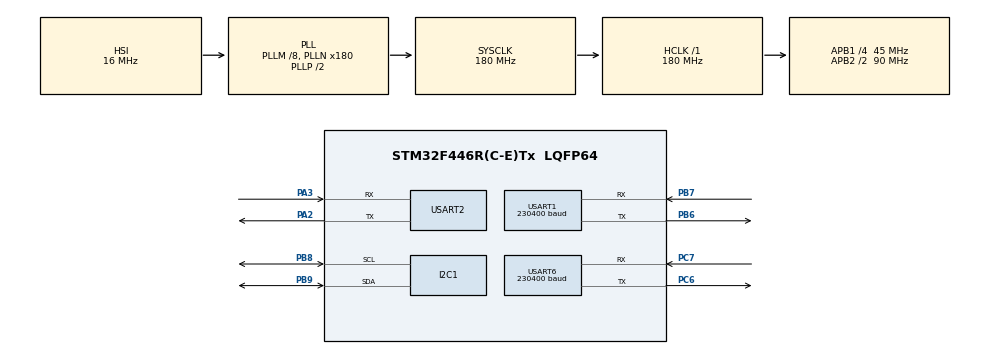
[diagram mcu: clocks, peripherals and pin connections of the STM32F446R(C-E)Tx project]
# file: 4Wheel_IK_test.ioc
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I2C1.I2C_Mode=I2C_Fast
Mcu.Family=STM32F4
Mcu.Name=STM32F446R(C-E)Tx
Mcu.Package=LQFP64
NVIC.PriorityGroup=NVIC_PRIORITYGROUP_4
PA2.Mode=Asynchronous
PA2.Signal=USART2_TX
PA3.Mode=Asynchronous
PA3.Signal=USART2_RX
PB6.Mode=Asynchronous
PB6.Signal=USART1_TX
PB7.Mode=Asynchronous
PB7.Signal=USART1_RX
PB8.Mode=I2C
PB8.Signal=I2C1_SCL
PB9.Mode=I2C
PB9.Signal=I2C1_SDA
PC6.Mode=Asynchronous
PC6.Signal=USART6_TX
PC7.Mode=Asynchronous
PC7.Signal=USART6_RX
ProjectManager.HeapSize=0x200
ProjectManager.StackSize=0x400
ProjectManager.TargetToolchain=STM32CubeIDE
RCC.AHBFreq_Value=180000000
RCC.APB1CLKDivider=RCC_HCLK_DIV4
RCC.APB1Freq_Value=45000000
RCC.APB1TimFreq_Value=90000000
RCC.APB2CLKDivider=RCC_HCLK_DIV2
RCC.APB2Freq_Value=90000000
RCC.APB2TimFreq_Value=180000000
RCC.CortexFreq_Value=180000000
RCC.HCLKFreq_Value=180000000
RCC.PLLM=8
RCC.PLLN=180
RCC.SYSCLKFreq_VALUE=180000000
RCC.SYSCLKSource=RCC_SYSCLKSOURCE_PLLCLK
RCC.USBFreq_Value=180000000
RCC.VCOOutputFreq_Value=360000000
USART1.BaudRate=230400
USART1.VirtualMode=VM_ASYNC
USART2.VirtualMode=VM_ASYNC
USART6.BaudRate=230400
USART6.VirtualMode=VM_ASYNC
board=custom

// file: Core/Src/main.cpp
/* USER CODE BEGIN Header */
/**
 ******************************************************************************
 * @file           : main.c
 * @brief          : Main program body
 ******************************************************************************
 * @attention
 *
 * Copyright (c) 2026 STMicroelectronics.
 * All rights reserved.
 *
 * This software is licensed under terms that can be found in the LICENSE file
 * in the root directory of this software component.
 * If no LICENSE file comes with this software, it is provided AS-IS.
 *
 ******************************************************************************
 */
/* USER CODE END Header */
#include "main.h"

/* USER CODE BEGIN Includes */
#include "stm32roboclaw.h"
#include "bno055_stm32.h"
#include<stdio.h>
/* USER CODE END Includes */

I2C_HandleTypeDef hi2c1;

UART_HandleTypeDef huart1;
UART_HandleTypeDef huart2;
UART_HandleTypeDef huart6;

void SystemClock_Config(void);
static void MX_GPIO_Init(void);
static void MX_I2C1_Init(void);
static void MX_USART1_UART_Init(void);
static void MX_USART2_UART_Init(void);
static void MX_USART6_UART_Init(void);

/* USER CODE BEGIN 0 */

stm32RoboClaw motor(&huart1,100);
stm32RoboClaw motor2(&huart6,100);

// Send printf to uart1
extern "C" int _write(int fd, char* ptr, int len) {
	HAL_StatusTypeDef hstatus;

	if (fd == 1 || fd == 2) {
		hstatus = HAL_UART_Transmit(&huart2, (uint8_t *) ptr, len, HAL_MAX_DELAY);
		if (hstatus == HAL_OK)
			return len;
		else
			return -1;
	}
	return -1;
}

/* USER CODE END 0 */

int main(void)
{

	/* MCU Configuration--------------------------------------------------------*/

	/* Reset of all peripherals, Initializes the Flash interface and the Systick. */
	HAL_Init();

	/* Configure the system clock */
	SystemClock_Config();

	/* Initialize all configured peripherals */
	MX_GPIO_Init();
	MX_I2C1_Init();
	MX_USART1_UART_Init();
	MX_USART2_UART_Init();
	MX_USART6_UART_Init();
	/* USER CODE BEGIN 2 */
	bno055_assignI2C(&hi2c1);
	bno055_setup();
	bno055_setOperationModeNDOF();

	printf("Stm32 ready\r\n");

	/* USER CODE END 2 */

	/* Infinite loop */
	/* USER CODE BEGIN WHILE */
	while (1)
	{
		//	  float v = bno055_getHeadingContinuous();
		//	  		printf("Heading: %.2f\r\n", v);

		motor.DutyM1(130, 6000); //vBR
		motor.DutyM2(130, 6000); //vFR
		motor2.DutyM1(129, 2000); //vFL
		motor2.DutyM2(129, -2000); //vBL
		/* USER CODE END WHILE */

	}
}

void SystemClock_Config(void)
{
	RCC_OscInitTypeDef RCC_OscInitStruct = {0};
	RCC_ClkInitTypeDef RCC_ClkInitStruct = {0};

	/** Configure the main internal regulator output voltage
	 */
	__HAL_RCC_PWR_CLK_ENABLE();
	__HAL_PWR_VOLTAGESCALING_CONFIG(PWR_REGULATOR_VOLTAGE_SCALE1);

	/** Initializes the RCC Oscillators according to the specified parameters
	 * in the RCC_OscInitTypeDef structure.
	 */
	RCC_OscInitStruct.OscillatorType = RCC_OSCILLATORTYPE_HSI;
	RCC_OscInitStruct.HSIState = RCC_HSI_ON;
	RCC_OscInitStruct.HSICalibrationValue = RCC_HSICALIBRATION_DEFAULT;
	RCC_OscInitStruct.PLL.PLLState = RCC_PLL_ON;
	RCC_OscInitStruct.PLL.PLLSource = RCC_PLLSOURCE_HSI;
	RCC_OscInitStruct.PLL.PLLM = 8;
	RCC_OscInitStruct.PLL.PLLN = 180;
	RCC_OscInitStruct.PLL.PLLP = RCC_PLLP_DIV2;
	RCC_OscInitStruct.PLL.PLLQ = 2;
	RCC_OscInitStruct.PLL.PLLR = 2;
	if (HAL_RCC_OscConfig(&RCC_OscInitStruct) != HAL_OK)
	{
		Error_Handler();
	}

	/** Activate the Over-Drive mode
	 */
	if (HAL_PWREx_EnableOverDrive() != HAL_OK)
	{
		Error_Handler();
	}

	/** Initializes the CPU, AHB and APB buses clocks
	 */
	RCC_ClkInitStruct.ClockType = RCC_CLOCKTYPE_HCLK|RCC_CLOCKTYPE_SYSCLK
			|RCC_CLOCKTYPE_PCLK1|RCC_CLOCKTYPE_PCLK2;
	RCC_ClkInitStruct.SYSCLKSource = RCC_SYSCLKSOURCE_PLLCLK;
	RCC_ClkInitStruct.AHBCLKDivider = RCC_SYSCLK_DIV1;
	RCC_ClkInitStruct.APB1CLKDivider = RCC_HCLK_DIV4;
	RCC_ClkInitStruct.APB2CLKDivider = RCC_HCLK_DIV2;

	if (HAL_RCC_ClockConfig(&RCC_ClkInitStruct, FLASH_LATENCY_5) != HAL_OK)
	{
		Error_Handler();
	}
}

static void MX_I2C1_Init(void)
{

	hi2c1.Instance = I2C1;
	hi2c1.Init.ClockSpeed = 400000;
	hi2c1.Init.DutyCycle = I2C_DUTYCYCLE_2;
	hi2c1.Init.OwnAddress1 = 0;
	hi2c1.Init.AddressingMode = I2C_ADDRESSINGMODE_7BIT;
	hi2c1.Init.DualAddressMode = I2C_DUALADDRESS_DISABLE;
	hi2c1.Init.OwnAddress2 = 0;
	hi2c1.Init.GeneralCallMode = I2C_GENERALCALL_DISABLE;
	hi2c1.Init.NoStretchMode = I2C_NOSTRETCH_DISABLE;
	if (HAL_I2C_Init(&hi2c1) != HAL_OK)
	{
		Error_Handler();
	}

}

static void MX_USART1_UART_Init(void)
{

	huart1.Instance = USART1;
	huart1.Init.BaudRate = 230400;
	huart1.Init.WordLength = UART_WORDLENGTH_8B;
	huart1.Init.StopBits = UART_STOPBITS_1;
	huart1.Init.Parity = UART_PARITY_NONE;
	huart1.Init.Mode = UART_MODE_TX_RX;
	huart1.Init.HwFlowCtl = UART_HWCONTROL_NONE;
	huart1.Init.OverSampling = UART_OVERSAMPLING_16;
	if (HAL_UART_Init(&huart1) != HAL_OK)
	{
		Error_Handler();
	}

}

static void MX_USART2_UART_Init(void)
{

	huart2.Instance = USART2;
	huart2.Init.BaudRate = 115200;
	huart2.Init.WordLength = UART_WORDLENGTH_8B;
	huart2.Init.StopBits = UART_STOPBITS_1;
	huart2.Init.Parity = UART_PARITY_NONE;
	huart2.Init.Mode = UART_MODE_TX_RX;
	huart2.Init.HwFlowCtl = UART_HWCONTROL_NONE;
	huart2.Init.OverSampling = UART_OVERSAMPLING_16;
	if (HAL_UART_Init(&huart2) != HAL_OK)
	{
		Error_Handler();
	}

}

static void MX_USART6_UART_Init(void)
{

	huart6.Instance = USART6;
	huart6.Init.BaudRate = 230400;
	huart6.Init.WordLength = UART_WORDLENGTH_8B;
	huart6.Init.StopBits = UART_STOPBITS_1;
	huart6.Init.Parity = UART_PARITY_NONE;
	huart6.Init.Mode = UART_MODE_TX_RX;
	huart6.Init.HwFlowCtl = UART_HWCONTROL_NONE;
	huart6.Init.OverSampling = UART_OVERSAMPLING_16;
	if (HAL_UART_Init(&huart6) != HAL_OK)
	{
		Error_Handler();
	}

}

static void MX_GPIO_Init(void)
{

	/* GPIO Ports Clock Enable */
	__HAL_RCC_GPIOA_CLK_ENABLE();
	__HAL_RCC_GPIOC_CLK_ENABLE();
	__HAL_RCC_GPIOB_CLK_ENABLE();

}

void Error_Handler(void)
{
	__disable_irq();
	while (1)
	{
	}
}
